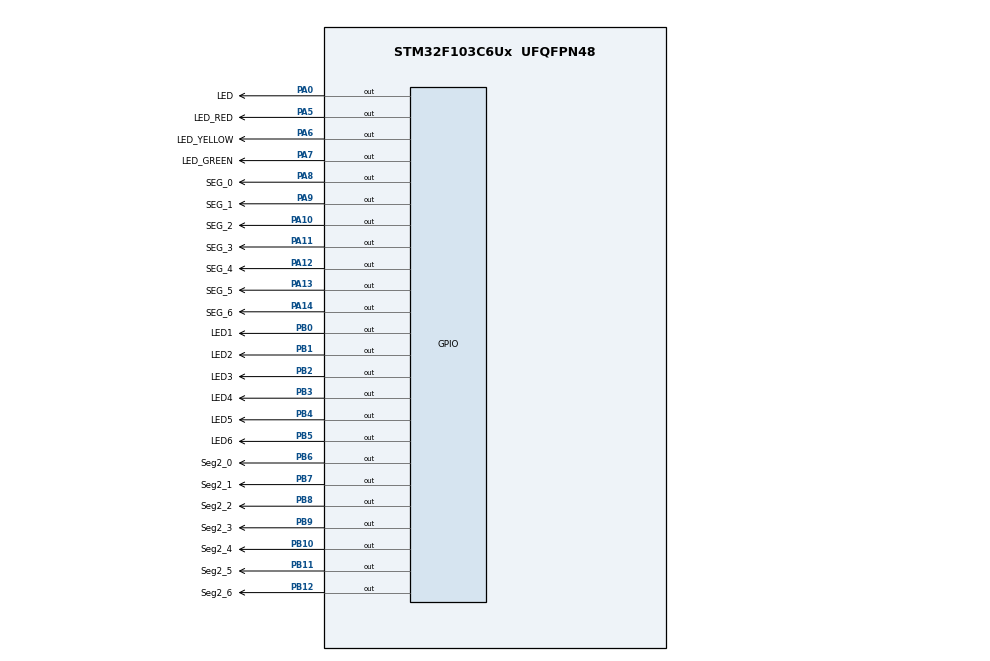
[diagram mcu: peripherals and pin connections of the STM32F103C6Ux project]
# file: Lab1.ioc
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Mcu.Family=STM32F1
Mcu.Name=STM32F103C6Ux
Mcu.Package=UFQFPN48
NVIC.PriorityGroup=NVIC_PRIORITYGROUP_4
NVIC.TIM1_UP_IRQn=true\:15\:0\:false\:false\:true\:false\:true
NVIC.TimeBase=TIM1_UP_IRQn
NVIC.TimeBaseIP=TIM1
PA0-WKUP.GPIO_Label=LED
PA0-WKUP.Signal=GPIO_Output
PA10.GPIO_Label=SEG_2
PA10.Signal=GPIO_Output
PA11.GPIO_Label=SEG_3
PA11.Signal=GPIO_Output
PA12.GPIO_Label=SEG_4
PA12.Signal=GPIO_Output
PA13.GPIO_Label=SEG_5
PA13.Signal=GPIO_Output
PA14.GPIO_Label=SEG_6
PA14.Signal=GPIO_Output
PA5.GPIO_Label=LED_RED
PA5.Signal=GPIO_Output
PA6.GPIO_Label=LED_YELLOW
PA6.Signal=GPIO_Output
PA7.GPIO_Label=LED_GREEN
PA7.Signal=GPIO_Output
PA8.GPIO_Label=SEG_0
PA8.Signal=GPIO_Output
PA9.GPIO_Label=SEG_1
PA9.Signal=GPIO_Output
PB0.GPIO_Label=LED1
PB0.Signal=GPIO_Output
PB1.GPIO_Label=LED2
PB1.Signal=GPIO_Output
PB10.GPIO_Label=Seg2_4
PB10.Signal=GPIO_Output
PB11.GPIO_Label=Seg2_5
PB11.Signal=GPIO_Output
PB12.GPIO_Label=Seg2_6
PB12.Signal=GPIO_Output
PB2.GPIO_Label=LED3
PB2.Signal=GPIO_Output
PB3.GPIO_Label=LED4
PB3.Signal=GPIO_Output
PB4.GPIO_Label=LED5
PB4.Signal=GPIO_Output
PB5.GPIO_Label=LED6
PB5.Signal=GPIO_Output
PB6.GPIO_Label=Seg2_0
PB6.Signal=GPIO_Output
PB7.GPIO_Label=Seg2_1
PB7.Signal=GPIO_Output
PB8.GPIO_Label=Seg2_2
PB8.Signal=GPIO_Output
PB9.GPIO_Label=Seg2_3
PB9.Signal=GPIO_Output
ProjectManager.HeapSize=0x200
ProjectManager.StackSize=0x400
ProjectManager.TargetToolchain=STM32CubeIDE
RCC.APB1Freq_Value=8000000
RCC.APB2Freq_Value=8000000
VP_SYS_VS_ND.Mode=No_Debug
VP_SYS_VS_tim1.Mode=TIM1
board=custom

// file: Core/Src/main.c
/* USER CODE BEGIN Header */
/**
  ******************************************************************************
  * @file           : main.c
  * @brief          : Main program body
  ******************************************************************************
  * @attention
  *
  * <h2><center>&copy; Copyright (c) 2024 STMicroelectronics.
  * All rights reserved.</center></h2>
  *
  * This software component is licensed by ST under BSD 3-Clause license,
  * the "License"; You may not use this file except in compliance with the
  * License. You may obtain a copy of the License at:
  *                        opensource.org/licenses/BSD-3-Clause
  *
  ******************************************************************************
  */
/* USER CODE END Header */
#include "main.h"

/* USER CODE BEGIN Includes */
#include "LED.h"

/* USER CODE END Includes */

void SystemClock_Config(void);
static void MX_GPIO_Init(void);

int main(void)
{

  /* MCU Configuration--------------------------------------------------------*/

  /* Reset of all peripherals, Initializes the Flash interface and the Systick. */
  HAL_Init();

  /* Configure the system clock */
  SystemClock_Config();

  /* Initialize all configured peripherals */
  MX_GPIO_Init();
  /* USER CODE BEGIN 2 */
  HAL_GPIO_WritePin(LED_RED_GPIO_Port, LED_RED_Pin, SET);
  HAL_GPIO_WritePin(LED_YELLOW_GPIO_Port, LED_YELLOW_Pin, SET);
  HAL_GPIO_WritePin(LED_GREEN_GPIO_Port, LED_GREEN_Pin, SET);
  HAL_GPIO_WritePin(LED1_GPIO_Port, LED1_Pin, GPIO_PIN_RESET);
  HAL_GPIO_WritePin(LED2_GPIO_Port, LED2_Pin, GPIO_PIN_RESET);
  HAL_GPIO_WritePin(LED3_GPIO_Port, LED3_Pin, GPIO_PIN_RESET);
  HAL_GPIO_WritePin(LED4_GPIO_Port, LED4_Pin, GPIO_PIN_RESET);
  HAL_GPIO_WritePin(LED5_GPIO_Port, LED5_Pin, GPIO_PIN_RESET);
  HAL_GPIO_WritePin(LED6_GPIO_Port, LED6_Pin, GPIO_PIN_RESET);

   HAL_GPIO_WritePin(SEG_0_GPIO_Port, SEG_0_Pin, RESET);
   HAL_GPIO_WritePin(SEG_1_GPIO_Port, SEG_1_Pin, RESET);
   HAL_GPIO_WritePin(SEG_2_GPIO_Port, SEG_2_Pin, RESET);
   HAL_GPIO_WritePin(SEG_3_GPIO_Port, SEG_3_Pin, RESET);
   HAL_GPIO_WritePin(SEG_4_GPIO_Port, SEG_4_Pin, RESET);
   HAL_GPIO_WritePin(SEG_5_GPIO_Port, SEG_5_Pin, RESET);
   HAL_GPIO_WritePin(SEG_6_GPIO_Port, SEG_6_Pin, RESET);

   HAL_GPIO_WritePin(Seg2_0_GPIO_Port, Seg2_0_Pin, RESET);
   HAL_GPIO_WritePin(Seg2_1_GPIO_Port, Seg2_1_Pin, RESET);
   HAL_GPIO_WritePin(Seg2_2_GPIO_Port, Seg2_2_Pin, RESET);
   HAL_GPIO_WritePin(Seg2_3_GPIO_Port, Seg2_3_Pin, RESET);
   HAL_GPIO_WritePin(Seg2_4_GPIO_Port, Seg2_4_Pin, RESET);
   HAL_GPIO_WritePin(Seg2_5_GPIO_Port, Seg2_5_Pin, RESET);
   HAL_GPIO_WritePin(Seg2_6_GPIO_Port, Seg2_6_Pin, RESET);
   int counter = 0 ;
   int sec = 0 ;
   int min = 0 ;
   int hour = 0 ;

  /* USER CODE END 2 */

  /* Infinite loop */
  /* USER CODE BEGIN WHILE */

  while (1)
  {
	  if(counter >= 5){
		  counter = 0;
		  sec++;
		  Exercise10(sec);
	  }
	  if(sec >= 12){
		  sec = 0 ;
		  min++;
		  Exercise10(min);
	  }
	  	  setNumberOnClock(sec);
	  if(min >= 60){
		  min = 0;
		  hour++;
		  Exercise10(hour);
	  }
	  if(min != 0){
		  int num = min/5 -1;
		  setNumberOnClock(num);
		  if(min == 0){
		  		int num = min/5;
		  		setNumberOnClock(num);
		  	}
	  }
	  if(hour >= 12){
		  hour = 0 ;
		  Exercise10(hour);
	  }
	  setNumberOnClock(hour);
	  if(counter >= 5) counter = 0;
	  HAL_Delay(1000);
	  counter++;
	  	  	}
    /* USER CODE END WHILE */

}

void SystemClock_Config(void)
{
  RCC_OscInitTypeDef RCC_OscInitStruct = {0};
  RCC_ClkInitTypeDef RCC_ClkInitStruct = {0};

  /** Initializes the RCC Oscillators according to the specified parameters
  * in the RCC_OscInitTypeDef structure.
  */
  RCC_OscInitStruct.OscillatorType = RCC_OSCILLATORTYPE_HSI;
  RCC_OscInitStruct.HSIState = RCC_HSI_ON;
  RCC_OscInitStruct.HSICalibrationValue = RCC_HSICALIBRATION_DEFAULT;
  RCC_OscInitStruct.PLL.PLLState = RCC_PLL_NONE;
  if (HAL_RCC_OscConfig(&RCC_OscInitStruct) != HAL_OK)
  {
    Error_Handler();
  }
  /** Initializes the CPU, AHB and APB buses clocks
  */
  RCC_ClkInitStruct.ClockType = RCC_CLOCKTYPE_HCLK|RCC_CLOCKTYPE_SYSCLK
                              |RCC_CLOCKTYPE_PCLK1|RCC_CLOCKTYPE_PCLK2;
  RCC_ClkInitStruct.SYSCLKSource = RCC_SYSCLKSOURCE_HSI;
  RCC_ClkInitStruct.AHBCLKDivider = RCC_SYSCLK_DIV1;
  RCC_ClkInitStruct.APB1CLKDivider = RCC_HCLK_DIV1;
  RCC_ClkInitStruct.APB2CLKDivider = RCC_HCLK_DIV1;

  if (HAL_RCC_ClockConfig(&RCC_ClkInitStruct, FLASH_LATENCY_0) != HAL_OK)
  {
    Error_Handler();
  }
}

static void MX_GPIO_Init(void)
{
  GPIO_InitTypeDef GPIO_InitStruct = {0};

  /* GPIO Ports Clock Enable */
  __HAL_RCC_GPIOA_CLK_ENABLE();
  __HAL_RCC_GPIOB_CLK_ENABLE();

  /*Configure GPIO pin Output Level */
  HAL_GPIO_WritePin(GPIOA, LED_Pin|LED_RED_Pin|LED_YELLOW_Pin|LED_GREEN_Pin
                          |SEG_0_Pin|SEG_1_Pin|SEG_2_Pin|SEG_3_Pin
                          |SEG_4_Pin|SEG_5_Pin|SEG_6_Pin, GPIO_PIN_RESET);

  /*Configure GPIO pin Output Level */
  HAL_GPIO_WritePin(GPIOB, LED1_Pin|LED2_Pin|LED3_Pin|Seg2_4_Pin
                          |Seg2_5_Pin|Seg2_6_Pin|LED4_Pin|LED5_Pin
                          |LED6_Pin|Seg2_0_Pin|Seg2_1_Pin|Seg2_2_Pin
                          |Seg2_3_Pin, GPIO_PIN_RESET);

  /*Configure GPIO pins : LED_Pin LED_RED_Pin LED_YELLOW_Pin LED_GREEN_Pin
                           SEG_0_Pin SEG_1_Pin SEG_2_Pin SEG_3_Pin
                           SEG_4_Pin SEG_5_Pin SEG_6_Pin */
  GPIO_InitStruct.Pin = LED_Pin|LED_RED_Pin|LED_YELLOW_Pin|LED_GREEN_Pin
                          |SEG_0_Pin|SEG_1_Pin|SEG_2_Pin|SEG_3_Pin
                          |SEG_4_Pin|SEG_5_Pin|SEG_6_Pin;
  GPIO_InitStruct.Mode = GPIO_MODE_OUTPUT_PP;
  GPIO_InitStruct.Pull = GPIO_NOPULL;
  GPIO_InitStruct.Speed = GPIO_SPEED_FREQ_LOW;
  HAL_GPIO_Init(GPIOA, &GPIO_InitStruct);

  /*Configure GPIO pins : LED1_Pin LED2_Pin LED3_Pin Seg2_4_Pin
                           Seg2_5_Pin Seg2_6_Pin LED4_Pin LED5_Pin
                           LED6_Pin Seg2_0_Pin Seg2_1_Pin Seg2_2_Pin
                           Seg2_3_Pin */
  GPIO_InitStruct.Pin = LED1_Pin|LED2_Pin|LED3_Pin|Seg2_4_Pin
                          |Seg2_5_Pin|Seg2_6_Pin|LED4_Pin|LED5_Pin
                          |LED6_Pin|Seg2_0_Pin|Seg2_1_Pin|Seg2_2_Pin
                          |Seg2_3_Pin;
  GPIO_InitStruct.Mode = GPIO_MODE_OUTPUT_PP;
  GPIO_InitStruct.Pull = GPIO_NOPULL;
  GPIO_InitStruct.Speed = GPIO_SPEED_FREQ_LOW;
  HAL_GPIO_Init(GPIOB, &GPIO_InitStruct);

}

void HAL_TIM_PeriodElapsedCallback(TIM_HandleTypeDef *htim)
{
  if (htim->Instance == TIM1) {
    HAL_IncTick();
  }
}

void Error_Handler(void)
{
  __disable_irq();
  while (1)
  {
  }
}

/************************ (C) COPYRIGHT STMicroelectronics *****END OF FILE****/
